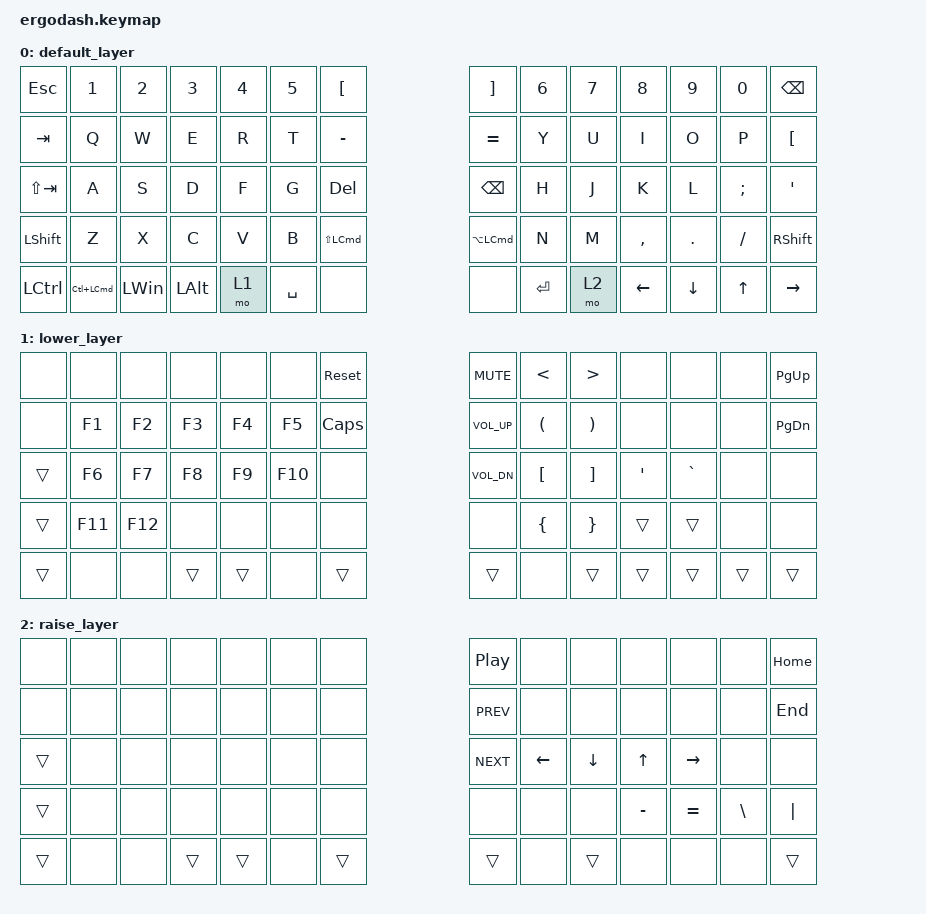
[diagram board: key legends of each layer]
/*
 * Copyright (c) 2020 The ZMK Contributors
 *
 * SPDX-License-Identifier: MIT
 */

#include <behaviors.dtsi>
#include <dt-bindings/zmk/keys.h>

#define DEFAULT 0
#define LOWER   1
#define RAISE   2

/ {
    keymap {
        compatible = "zmk,keymap";

        default_layer {
            /* QWERTY
 * .----------------------------------------------------------------------------------------------------------------------.
 * |  `   |   1  |   2  |   3  |   4  |   5  |  [   |                    |  ]   |   6  |   7  |   8  |   9  |   0  | PScr |
 * |------+------+------+------+------+------+------+--------------------+------+------+------+------+------+------+------|
 * | ESC  |   Q  |   W  |   E  |   R  |   T  |  -   |                    |  =   |   Y  |   U  |   I  |   O  |   P  |  \   |
 * |------+------+------+------+------+------+------+--------------------+------+------+------+------+------+------+------|
 * | Tab  |   A  |   S  |   D  |   F  |   G  | Del  |                    | Bksp |   H  |   J  |   K  |   L  |   ;  |  '   |
 * |------+------+------+------+------+------+---------------------------+------+------+------+------+------+------+------|
 * | Shift|   Z  |   X  |   C  |   V  |   B  | End  |                    | Home |   N  |   M  |   ,  |   .  |   /  | Shift|
 * |-------------+------+------+------+------+------+------+------+------+------+------+------+------+------+-------------|
 * | Ctrl |      | PGDN | Win  |||||||| Alt  | Space| Lower|||||||| Raise| Enter| RAlt ||||||||      | PGUP | Ins  | RCtrl|
 * .----------------------------------------------------------------------------------------------------------------------.
 */

            bindings = <
&kp ESCAPE        &kp N1                &kp N2        &kp N3        &kp N4  &kp N5  &kp LBKT                                               &kp RBKT   &kp N6  &kp N7  &kp N8          &kp N9    &kp N0     &kp BACKSPACE
&kp TAB           &kp Q                 &kp W         &kp E         &kp R   &kp T   &kp MINUS                                              &kp EQUAL  &kp Y   &kp U   &kp I           &kp O     &kp P      &kp LBKT
&kp LS(TAB)       &kp A                 &kp S         &kp D         &kp F   &kp G   &kp DEL                                                &kp BSPC   &kp H   &kp J   &kp K           &kp L     &kp SEMI   &kp SQT
&kp LEFT_SHIFT    &kp Z                 &kp X         &kp C         &kp V   &kp B              &kp LS(LEFT_COMMAND)  &kp LA(LEFT_COMMAND)             &kp N   &kp M   &kp COMMA       &kp DOT   &kp SLASH  &kp RSHFT
&kp LEFT_CONTROL  &kp LC(LEFT_COMMAND)  &kp LEFT_WIN  &kp LEFT_ALT  &mo 1           &kp SPACE  &none                 &none                 &kp ENTER          &mo 2   &kp LEFT_ARROW  &kp DOWN  &kp UP     &kp RIGHT
            >;
        };

        lower_layer {
            /* .----------------------------------------------------------------------------------------------------------------------.
 * |  F11 |  F1  |  F2  |  F3  |  F4  |  F5  |      |                    |      |  F6  |  F7  |  F8  |  F9  |  F10 |  F12 |
 * |------+------+------+------+------+------+------+--------------------+------+------+------+------+------+------+------|
 * |      |      |      |      |      |      |      |                    |      |      |      |      |      |      |      |
 * |------+------+------+------+------+------+------+--------------------+------+------+------+------+------+------+------|
 * |      |      |      |      |      |      |      |                    |      |      |      |      |      |      |      |
 * |------+------+------+------+------+------+---------------------------+------+------+------+------+------+------+------|
 * | Shift| Boot | Reset|      |      |      |      |                    |      |      |      |      |      |      | Shift|
 * |-------------+------+------+------+------+------+------+------+------+------+------+------+------+------+-------------|
 * | Ctlr |      |      |  Win |||||||| Alt  |      | Lower|||||||| Raise|      | RAlt ||||||||      |      |      | RCtrl|
 * .----------------------------------------------------------------------------------------------------------------------.
 */ /* FIXME boot and reset are not yet locale aware */
            bindings = <
&none   &none    &none    &none   &none   &none    &sys_reset                    &kp K_MUTE    &kp LT                &kp GT                 &none           &none      &none   &kp PG_UP
&none   &kp F1   &kp F2   &kp F3  &kp F4  &kp F5   &kp CAPSLOCK                  &kp C_VOL_UP  &kp LEFT_PARENTHESIS  &kp RIGHT_PARENTHESIS  &none           &none      &none   &kp PAGE_DOWN
&trans  &kp F6   &kp F7   &kp F8  &kp F9  &kp F10  &none                         &kp C_VOL_DN  &kp LEFT_BRACKET      &kp RIGHT_BRACKET      &kp APOSTROPHE  &kp GRAVE  &none   &none
&trans  &kp F11  &kp F12  &none   &none   &none                  &none   &none                 &kp LEFT_BRACE        &kp RIGHT_BRACE        &trans          &trans     &none   &none
&trans  &none    &none    &trans  &trans           &none         &trans  &trans  &none                               &trans                 &trans          &trans     &trans  &trans
            >;
        };

        raise_layer {
            /* .----------------------------------------------------------------------------------------------------------------------.
 * |      | BT 0 | BT 1 | BT 2 | BT 3 |      | BTCL |                    |      |      |      |      |      |      |      |
 * |------+------+------+------+------+------+------+--------------------+------+------+------+------+------+------+------|
 * |      |      |      |      |      |      |      |                    |      |      |      |      |      |      |      |
 * |------+------+------+------+------+------+------+--------------------+------+------+------+------+------+------+------|
 * |      |      |      |      |      |      |      |                    |      |      |      |      |      |      |      |
 * |------+------+------+------+------+------+---------------------------+------+------+------+------+------+------+------|
 * | Shift|      |      |      |      |      |      |                    |      |      |      |      | Boot | Reset| Shift|
 * |-------------+------+------+------+------+------+------+------+------+------+------+------+------+------+-------------|
 * | Ctlr |      |      |  Win |||||||| Alt  |      | Lower|||||||| Raise|      | RAlt ||||||||      |      |      | RCtrl|
 * .----------------------------------------------------------------------------------------------------------------------.
 */ /* FIXME boot and reset are not yet locale aware */
            bindings = <
&none   &none  &none  &none   &none   &none  &none                  &kp C_PLAY_PAUSE  &none     &none     &none      &none      &none          &kp HOME
&none   &none  &none  &none   &none   &none  &none                  &kp C_PREV        &none     &none     &none      &none      &none          &kp END
&trans  &none  &none  &none   &none   &none  &none                  &kp C_NEXT        &kp LEFT  &kp DOWN  &kp UP     &kp RIGHT  &none          &none
&trans  &none  &none  &none   &none   &none         &none   &none                     &none     &none     &kp MINUS  &kp EQUAL  &kp BACKSLASH  &kp PIPE
&trans  &none  &none  &trans  &trans         &none  &trans  &trans  &none                       &trans    &none      &none      &none          &trans
            >;
        };
    };
};
